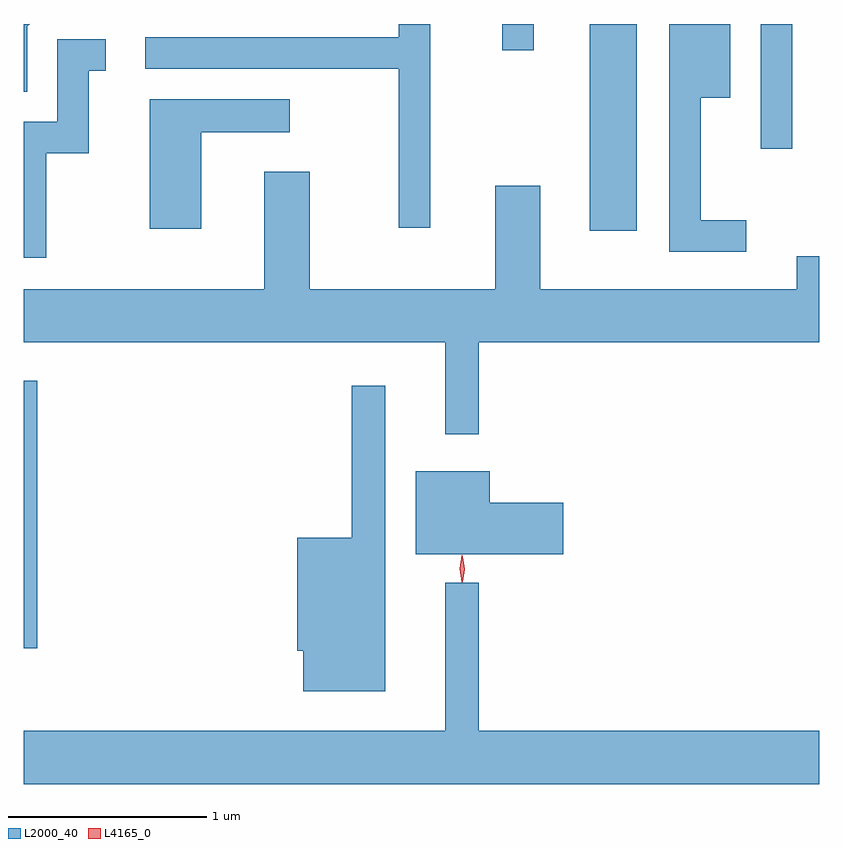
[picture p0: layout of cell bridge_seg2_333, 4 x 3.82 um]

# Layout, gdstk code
import gdstk
lib = gdstk.Library(unit=1e-6, precision=1e-09)
def R(c, l, rs):  # rectangles x0, y0, x1, y1
    for r in rs: c.add(gdstk.rectangle(r[:2], r[2:], *l))
def P(c, l, *ps):  # polygons
    for p in ps: c.add(gdstk.Polygon(p, *l))
L2000_40 = (2000, 40)
L4165_0 = (4165, 0)

bridge_seg2_333 = lib.new_cell('bridge_seg2_333')
R(bridge_seg2_333, L2000_40, [(438.481,991.278,438.549,992.623), (441.326,993.376,441.564,994.416), (442.186,993.788,442.344,994.416), (440.886,994.283,441.044,994.416)])
P(bridge_seg2_333, L2000_40, [(438.499,994.404),(438.511,994.416),(438.481,994.416),(438.481,994.076),(438.499,994.076)],
  [(442.113,993.429),(441.884,993.429),(441.884,994.046),(442.034,994.046),(442.034,994.416),(441.726,994.416),(441.726,993.271),(442.113,993.271)],
  [(440.524,994.416),(440.366,994.416),(440.366,994.349),(439.093,994.349),(439.093,994.191),(440.366,994.191),(440.366,993.393),(440.524,993.393)],
  [(438.594,993.766),(438.809,993.766),(438.809,994.181),(438.893,994.181),(438.893,994.339),(438.651,994.339),(438.651,993.924),(438.481,993.924),(438.481,993.241),(438.594,993.241)],
  [(439.374,993.871),(439.818,993.871),(439.818,994.039),(439.116,994.039),(439.116,993.386),(439.374,993.386)],
  [(440.769,992.816),(442.481,992.816),(442.481,993.249),(442.366,993.249),(442.366,993.084),(441.079,993.084),(441.079,993.604),(440.851,993.604),(440.851,993.084),(439.919,993.084),(439.919,993.674),(439.691,993.674),(439.691,993.084),(438.481,993.084),(438.481,992.816),(440.601,992.816),(440.601,992.353),(440.769,992.353)],
  [(440.299,992.598),(440.131,992.598),(440.131,991.834),(439.856,991.834),(439.856,991.266),(439.886,991.266),(439.886,991.061),(440.299,991.061)],
  [(441.194,992.009),(440.824,992.009),(440.824,992.169),(440.451,992.169),(440.451,991.751),(441.194,991.751)],
  [(442.481,990.864),(440.769,990.864),(440.769,991.608),(440.601,991.608),(440.601,990.864),(438.481,990.864),(438.481,990.596),(442.481,990.596)])
P(bridge_seg2_333, L4165_0, [(440.684,991.61),(440.684,991.61),(440.674,991.678),(440.684,991.746),(440.684,991.746),(440.685,991.746),(440.694,991.678),(440.685,991.61)],
  [(440.687,991.613),(440.678,991.676),(440.687,991.739),(440.688,991.74),(440.688,991.739),(440.698,991.676),(440.688,991.613),(440.688,991.613)])

lib.write_gds('bridge_seg2_333.gds')
